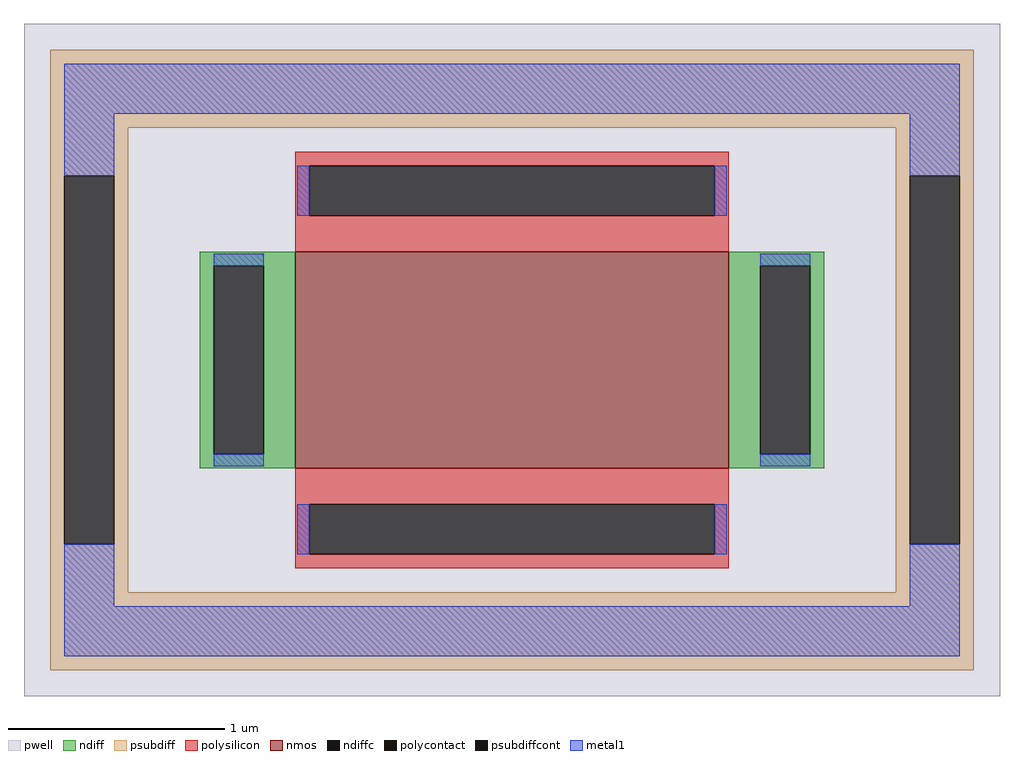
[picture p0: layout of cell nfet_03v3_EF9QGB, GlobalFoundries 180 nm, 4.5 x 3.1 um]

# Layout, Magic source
magic
tech gf180mcuD
magscale 1 10
<< pwell >>
rect -450 -310 450 310
<< nmos >>
rect -200 -100 200 100
<< ndiff >>
rect -288 87 -200 100
rect -288 -87 -275 87
rect -229 -87 -200 87
rect -288 -100 -200 -87
rect 200 87 288 100
rect 200 -87 229 87
rect 275 -87 288 87
rect 200 -100 288 -87
<< ndiffc >>
rect -275 -87 -229 87
rect 229 -87 275 87
<< psubdiff >>
rect -426 214 426 286
rect -426 170 -354 214
rect -426 -170 -413 170
rect -367 -170 -354 170
rect 354 170 426 214
rect -426 -214 -354 -170
rect 354 -170 367 170
rect 413 -170 426 170
rect 354 -214 426 -170
rect -426 -286 426 -214
<< psubdiffcont >>
rect -413 -170 -367 170
rect 367 -170 413 170
<< polysilicon >>
rect -200 179 200 192
rect -200 133 -187 179
rect 187 133 200 179
rect -200 100 200 133
rect -200 -133 200 -100
rect -200 -179 -187 -133
rect 187 -179 200 -133
rect -200 -192 200 -179
<< polycontact >>
rect -187 133 187 179
rect -187 -179 187 -133
<< metal1 >>
rect -413 227 413 273
rect -413 170 -367 227
rect -198 133 -187 179
rect 187 133 198 179
rect 367 170 413 227
rect -275 87 -229 98
rect -275 -98 -229 -87
rect 229 87 275 98
rect 229 -98 275 -87
rect -413 -227 -367 -170
rect -198 -179 -187 -133
rect 187 -179 198 -133
rect 367 -227 413 -170
rect -413 -273 413 -227
<< properties >>
string FIXED_BBOX -390 -250 390 250
string gencell nfet_03v3
string library gf180mcu
string parameters w 1 l 2 m 1 nf 1 diffcov 100 polycov 100 guard 1 glc 1 grc 1 gtc 0 gbc 0 tbcov 100 rlcov 100 topc 1 botc 1 poverlap 0 doverlap 1 lmin 0.28 wmin 0.22 class mosfet full_metal 1 compatible {nfet_03v3 nfet_05v0 nfet_06v0 nfet_06v0_nvt}
<< end >>
